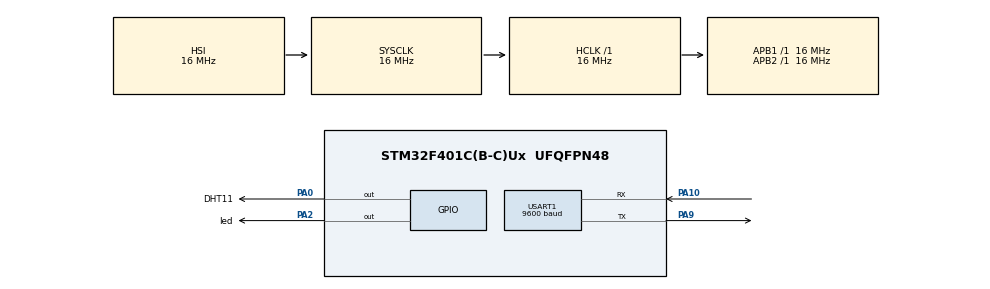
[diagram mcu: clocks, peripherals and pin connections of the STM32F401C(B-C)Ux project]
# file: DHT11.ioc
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Mcu.Family=STM32F4
Mcu.Name=STM32F401C(B-C)Ux
Mcu.Package=UFQFPN48
NVIC.PriorityGroup=NVIC_PRIORITYGROUP_4
PA0-WKUP.GPIO_Label=DHT11
PA0-WKUP.Signal=GPIO_Output
PA10.Mode=Asynchronous
PA10.Signal=USART1_RX
PA2.GPIO_Label=led
PA2.Signal=GPIO_Output
PA9.Mode=Asynchronous
PA9.Signal=USART1_TX
ProjectManager.HeapSize=0x200
ProjectManager.StackSize=0x400
ProjectManager.TargetToolchain=STM32CubeIDE
RCC.AHBFreq_Value=16000000
RCC.APB1Freq_Value=16000000
RCC.APB2Freq_Value=16000000
RCC.CortexFreq_Value=16000000
RCC.HSE_VALUE=25000000
RCC.HSI_VALUE=16000000
RCC.LSE_VALUE=32768
RCC.SYSCLKFreq_VALUE=16000000
RCC.VCOOutputFreq_Value=192000000
USART1.BaudRate=9600
USART1.VirtualMode=VM_ASYNC
board=custom

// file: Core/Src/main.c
/* USER CODE BEGIN Header */
/**
  ******************************************************************************
  * @file           : main.c
  * @brief          : Main program body
  ******************************************************************************
  * @attention
  *
  * Copyright (c) 2023 STMicroelectronics.
  * All rights reserved.
  *
  * This software is licensed under terms that can be found in the LICENSE file
  * in the root directory of this software component.
  * If no LICENSE file comes with this software, it is provided AS-IS.
  *
  ******************************************************************************
  */
/* USER CODE END Header */
#include "main.h"

/* USER CODE BEGIN Includes */
#include "uart.h"
#include "DHT11_LIB.h"
#include "uart.h"
#include "stdio.h"
#include "string.h"

/* USER CODE END Includes */

UART_HandleTypeDef huart1;

/* USER CODE BEGIN PV */
char texto[100];
unsigned int DHT11_TEMP;// Declarar en al main
unsigned int DHT11_HUM;  //declarar en el main
uint32_t milis,timepass;

/* USER CODE END PV */

void SystemClock_Config(void);
static void MX_GPIO_Init(void);
static void MX_USART1_UART_Init(void);

int main(void)
{

  /* MCU Configuration--------------------------------------------------------*/

  /* Reset of all peripherals, Initializes the Flash interface and the Systick. */
  HAL_Init();

  /* Configure the system clock */
  SystemClock_Config();

  /* Initialize all configured peripherals */
  MX_GPIO_Init();
  MX_USART1_UART_Init();
  /* USER CODE BEGIN 2 */
  delay_us_dwt_init();
  milis=uwTick;

  /* USER CODE END 2 */

  /* Infinite loop */
  /* USER CODE BEGIN WHILE */
  while (1)
  {

	if (timepass>=1000)
	{
	  if( DHT11_ok()==1)
	  		 {
	  		 DHT11_Read();
	  		 HAL_GPIO_TogglePin(led_GPIO_Port, led_Pin);
	  		 }
	      	 else uartx_write_text(&huart1, "DHTPbad\r\n");
       milis=uwTick;
	}

	    timepass= uwTick-milis;
		 sprintf(texto,"Temp=%u    Hum=%u\r\n",(unsigned int)DHT11_TEMP,(unsigned int)DHT11_HUM);    // manda info serialmente
	  		 uartx_write_text(&huart1, texto);

	  HAL_Delay(200);

    /* USER CODE END WHILE */

  }
}

void SystemClock_Config(void)
{
  RCC_OscInitTypeDef RCC_OscInitStruct = {0};
  RCC_ClkInitTypeDef RCC_ClkInitStruct = {0};

  /** Configure the main internal regulator output voltage
  */
  __HAL_RCC_PWR_CLK_ENABLE();
  __HAL_PWR_VOLTAGESCALING_CONFIG(PWR_REGULATOR_VOLTAGE_SCALE2);

  /** Initializes the RCC Oscillators according to the specified parameters
  * in the RCC_OscInitTypeDef structure.
  */
  RCC_OscInitStruct.OscillatorType = RCC_OSCILLATORTYPE_HSI;
  RCC_OscInitStruct.HSIState = RCC_HSI_ON;
  RCC_OscInitStruct.HSICalibrationValue = RCC_HSICALIBRATION_DEFAULT;
  RCC_OscInitStruct.PLL.PLLState = RCC_PLL_NONE;
  if (HAL_RCC_OscConfig(&RCC_OscInitStruct) != HAL_OK)
  {
    Error_Handler();
  }

  /** Initializes the CPU, AHB and APB buses clocks
  */
  RCC_ClkInitStruct.ClockType = RCC_CLOCKTYPE_HCLK|RCC_CLOCKTYPE_SYSCLK
                              |RCC_CLOCKTYPE_PCLK1|RCC_CLOCKTYPE_PCLK2;
  RCC_ClkInitStruct.SYSCLKSource = RCC_SYSCLKSOURCE_HSI;
  RCC_ClkInitStruct.AHBCLKDivider = RCC_SYSCLK_DIV1;
  RCC_ClkInitStruct.APB1CLKDivider = RCC_HCLK_DIV1;
  RCC_ClkInitStruct.APB2CLKDivider = RCC_HCLK_DIV1;

  if (HAL_RCC_ClockConfig(&RCC_ClkInitStruct, FLASH_LATENCY_0) != HAL_OK)
  {
    Error_Handler();
  }
}

static void MX_USART1_UART_Init(void)
{

  huart1.Instance = USART1;
  huart1.Init.BaudRate = 9600;
  huart1.Init.WordLength = UART_WORDLENGTH_8B;
  huart1.Init.StopBits = UART_STOPBITS_1;
  huart1.Init.Parity = UART_PARITY_NONE;
  huart1.Init.Mode = UART_MODE_TX_RX;
  huart1.Init.HwFlowCtl = UART_HWCONTROL_NONE;
  huart1.Init.OverSampling = UART_OVERSAMPLING_16;
  if (HAL_UART_Init(&huart1) != HAL_OK)
  {
    Error_Handler();
  }

}

static void MX_GPIO_Init(void)
{
  GPIO_InitTypeDef GPIO_InitStruct = {0};

  /* GPIO Ports Clock Enable */
  __HAL_RCC_GPIOA_CLK_ENABLE();

  /*Configure GPIO pin Output Level */
  HAL_GPIO_WritePin(GPIOA, DHT11_Pin|led_Pin, GPIO_PIN_RESET);

  /*Configure GPIO pins : DHT11_Pin led_Pin */
  GPIO_InitStruct.Pin = DHT11_Pin|led_Pin;
  GPIO_InitStruct.Mode = GPIO_MODE_OUTPUT_PP;
  GPIO_InitStruct.Pull = GPIO_NOPULL;
  GPIO_InitStruct.Speed = GPIO_SPEED_FREQ_LOW;
  HAL_GPIO_Init(GPIOA, &GPIO_InitStruct);

}

void Error_Handler(void)
{
  __disable_irq();
  while (1)
  {
  }
}
